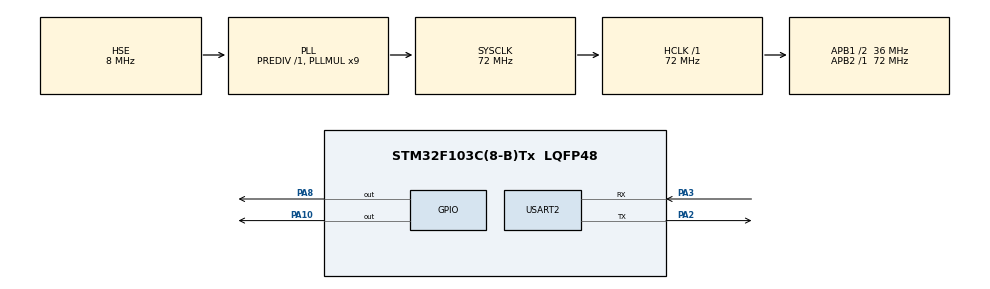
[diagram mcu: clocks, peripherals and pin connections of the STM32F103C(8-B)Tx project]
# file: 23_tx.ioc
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Dma.Request0=USART2_RX
Dma.Request1=USART2_TX
Dma.USART2_RX.0.Direction=DMA_PERIPH_TO_MEMORY
Dma.USART2_RX.0.Instance=DMA1_Channel6
Dma.USART2_RX.0.MemDataAlignment=DMA_MDATAALIGN_BYTE
Dma.USART2_RX.0.MemInc=DMA_MINC_ENABLE
Dma.USART2_RX.0.Mode=DMA_NORMAL
Dma.USART2_RX.0.PeriphDataAlignment=DMA_PDATAALIGN_BYTE
Dma.USART2_RX.0.PeriphInc=DMA_PINC_DISABLE
Dma.USART2_RX.0.Priority=DMA_PRIORITY_LOW
Dma.USART2_TX.1.Direction=DMA_MEMORY_TO_PERIPH
Dma.USART2_TX.1.Instance=DMA1_Channel7
Dma.USART2_TX.1.MemDataAlignment=DMA_MDATAALIGN_BYTE
Dma.USART2_TX.1.MemInc=DMA_MINC_ENABLE
Dma.USART2_TX.1.Mode=DMA_NORMAL
Dma.USART2_TX.1.PeriphDataAlignment=DMA_PDATAALIGN_BYTE
Dma.USART2_TX.1.PeriphInc=DMA_PINC_DISABLE
Dma.USART2_TX.1.Priority=DMA_PRIORITY_LOW
FREERTOS.Tasks01=defaultTask,24,128,StartDefaultTask,Default,NULL,Dynamic,NULL,NULL
Mcu.Family=STM32F1
Mcu.Name=STM32F103C(8-B)Tx
Mcu.Package=LQFP48
NVIC.DMA1_Channel6_IRQn=true\:5\:0\:false\:false\:true\:true\:false\:true\:true
NVIC.DMA1_Channel7_IRQn=true\:5\:0\:false\:false\:true\:true\:false\:true\:true
NVIC.PriorityGroup=NVIC_PRIORITYGROUP_4
NVIC.TIM4_IRQn=true\:15\:0\:false\:false\:true\:false\:false\:true\:true
NVIC.TimeBase=TIM4_IRQn
NVIC.TimeBaseIP=TIM4
NVIC.USART2_IRQn=true\:5\:0\:false\:false\:true\:true\:false\:true\:true
PA10.GPIO_ModeDefaultOutputPP=GPIO_MODE_OUTPUT_PP
PA10.GPIO_PuPd=GPIO_PULLDOWN
PA10.PinState=GPIO_PIN_RESET
PA10.Signal=GPIO_Output
PA13.Mode=Serial_Wire
PA13.Signal=SYS_JTMS-SWDIO
PA14.Mode=Serial_Wire
PA14.Signal=SYS_JTCK-SWCLK
PA2.Mode=Asynchronous
PA2.Signal=USART2_TX
PA3.Mode=Asynchronous
PA3.Signal=USART2_RX
PA8.GPIO_ModeDefaultOutputPP=GPIO_MODE_OUTPUT_PP
PA8.GPIO_PuPd=GPIO_PULLDOWN
PA8.PinState=GPIO_PIN_RESET
PA8.Signal=GPIO_Output
PD0-OSC_IN.Mode=HSE-External-Oscillator
PD0-OSC_IN.Signal=RCC_OSC_IN
PD1-OSC_OUT.Mode=HSE-External-Oscillator
PD1-OSC_OUT.Signal=RCC_OSC_OUT
ProjectManager.HeapSize=0x200
ProjectManager.StackSize=0x400
ProjectManager.TargetToolchain=MDK-ARM V5.32
RCC.AHBFreq_Value=72000000
RCC.APB1CLKDivider=RCC_HCLK_DIV2
RCC.APB1Freq_Value=36000000
RCC.APB1TimFreq_Value=72000000
RCC.APB2Freq_Value=72000000
RCC.APB2TimFreq_Value=72000000
RCC.HCLKFreq_Value=72000000
RCC.PLLMUL=RCC_PLL_MUL9
RCC.PLLSourceVirtual=RCC_PLLSOURCE_HSE
RCC.SYSCLKFreq_VALUE=72000000
RCC.SYSCLKSource=RCC_SYSCLKSOURCE_PLLCLK
RCC.USBFreq_Value=72000000
USART2.VirtualMode=VM_ASYNC
VP_FREERTOS_VS_CMSIS_V2.Mode=CMSIS_V2
VP_SYS_VS_tim4.Mode=TIM4
board=custom

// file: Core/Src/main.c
/* USER CODE BEGIN Header */
/**
  ******************************************************************************
  * @file           : main.c
  * @brief          : Main program body
  ******************************************************************************
  * @attention
  *
  * Copyright (c) 2025 STMicroelectronics.
  * All rights reserved.
  *
  * This software is licensed under terms that can be found in the LICENSE file
  * in the root directory of this software component.
  * If no LICENSE file comes with this software, it is provided AS-IS.
  *
  ******************************************************************************
  */
/* USER CODE END Header */
#include "main.h"
#include "cmsis_os.h"
#include "dma.h"
#include "usart.h"
#include "gpio.h"

void SystemClock_Config(void);
void MX_FREERTOS_Init(void);

int main(void)
{

  /* MCU Configuration--------------------------------------------------------*/

  /* Reset of all peripherals, Initializes the Flash interface and the Systick. */
  HAL_Init();

  /* Configure the system clock */
  SystemClock_Config();

  /* Initialize all configured peripherals */
  MX_GPIO_Init();
  MX_DMA_Init();
  MX_USART2_UART_Init();

  /* Init scheduler */
  osKernelInitialize();  /* Call init function for freertos objects (in cmsis_os2.c) */
  MX_FREERTOS_Init();

  /* Start scheduler */
  osKernelStart();

  /* We should never get here as control is now taken by the scheduler */

  /* Infinite loop */
  while (1)
  {

  }
}

void SystemClock_Config(void)
{
  RCC_OscInitTypeDef RCC_OscInitStruct = {0};
  RCC_ClkInitTypeDef RCC_ClkInitStruct = {0};

  /** Initializes the RCC Oscillators according to the specified parameters
  * in the RCC_OscInitTypeDef structure.
  */
  RCC_OscInitStruct.OscillatorType = RCC_OSCILLATORTYPE_HSE;
  RCC_OscInitStruct.HSEState = RCC_HSE_ON;
  RCC_OscInitStruct.HSEPredivValue = RCC_HSE_PREDIV_DIV1;
  RCC_OscInitStruct.HSIState = RCC_HSI_ON;
  RCC_OscInitStruct.PLL.PLLState = RCC_PLL_ON;
  RCC_OscInitStruct.PLL.PLLSource = RCC_PLLSOURCE_HSE;
  RCC_OscInitStruct.PLL.PLLMUL = RCC_PLL_MUL9;
  if (HAL_RCC_OscConfig(&RCC_OscInitStruct) != HAL_OK)
  {
    Error_Handler();
  }

  /** Initializes the CPU, AHB and APB buses clocks
  */
  RCC_ClkInitStruct.ClockType = RCC_CLOCKTYPE_HCLK|RCC_CLOCKTYPE_SYSCLK
                              |RCC_CLOCKTYPE_PCLK1|RCC_CLOCKTYPE_PCLK2;
  RCC_ClkInitStruct.SYSCLKSource = RCC_SYSCLKSOURCE_PLLCLK;
  RCC_ClkInitStruct.AHBCLKDivider = RCC_SYSCLK_DIV1;
  RCC_ClkInitStruct.APB1CLKDivider = RCC_HCLK_DIV2;
  RCC_ClkInitStruct.APB2CLKDivider = RCC_HCLK_DIV1;

  if (HAL_RCC_ClockConfig(&RCC_ClkInitStruct, FLASH_LATENCY_2) != HAL_OK)
  {
    Error_Handler();
  }
}

void HAL_TIM_PeriodElapsedCallback(TIM_HandleTypeDef *htim)
{
  if (htim->Instance == TIM4)
  {
    HAL_IncTick();
  }
}

void Error_Handler(void)
{
  __disable_irq();
  while (1)
  {
  }
}

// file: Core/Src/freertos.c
/* USER CODE BEGIN Header */
/**
  ******************************************************************************
  * File Name          : freertos.c
  * Description        : Code for freertos applications
  ******************************************************************************
  * @attention
  *
  * Copyright (c) 2025 STMicroelectronics.
  * All rights reserved.
  *
  * This software is licensed under terms that can be found in the LICENSE file
  * in the root directory of this software component.
  * If no LICENSE file comes with this software, it is provided AS-IS.
  *
  ******************************************************************************
  */
/* USER CODE END Header */

#include "FreeRTOS.h"
#include "task.h"
#include "main.h"
#include "cmsis_os.h"

/* USER CODE BEGIN Includes */
#include "usart.h"
#include <string.h>
/* USER CODE END Includes */

/* USER CODE BEGIN PTD */
typedef enum{
	NONE,
	ALLON,
	REDON,
	GREENON,
	ALLOFF,
}LEDState;
/* USER CODE END PTD */

/* USER CODE BEGIN Variables */
LEDState ledstate = NONE;
int dmaTxState = 1;
int dmaRxState = 1;
	uint8_t rx_buf[4];
/* USER CODE END Variables */
/* Definitions for defaultTask */
osThreadId_t defaultTaskHandle;
const osThreadAttr_t defaultTask_attributes = {
  .name = "defaultTask",
  .stack_size = 128 * 4,
  .priority = (osPriority_t) osPriorityNormal,
};

/* USER CODE BEGIN FunctionPrototypes */
void RxTask(void *parames);
void TxTask(void *parames);
/* USER CODE END FunctionPrototypes */

void StartDefaultTask(void *argument);

void MX_FREERTOS_Init(void); /* (MISRA C 2004 rule 8.1) */

void MX_FREERTOS_Init(void) {

  /* Create the thread(s) */
  /* creation of defaultTask */
  defaultTaskHandle = osThreadNew(StartDefaultTask, NULL, &defaultTask_attributes);

  /* USER CODE BEGIN RTOS_THREADS */
  /* add threads, ... */
	xTaskCreate(RxTask,"RxTask",128,NULL,osPriorityNormal,NULL);
	xTaskCreate(TxTask,"TxTask",128,NULL,osPriorityNormal,NULL);
	HAL_UART_Receive_DMA(&huart2,rx_buf,sizeof(rx_buf));
  /* USER CODE END RTOS_THREADS */

}

void StartDefaultTask(void *argument)
{
  for(;;)
  {
    osDelay(1);
  }
}

/* USER CODE BEGIN Application */
void RxTask(void *parames){
	for(;;){
		taskENTER_CRITICAL();
		if(dmaRxState == 1){
			dmaRxState = 0;
			taskEXIT_CRITICAL();
			HAL_UART_Receive_DMA(&huart2,rx_buf,sizeof(rx_buf));
		}else{
			taskEXIT_CRITICAL();
			vTaskDelay(10);
			continue;
		}
		if(rx_buf[1] == 0x01){
			taskENTER_CRITICAL();
			if(HAL_GPIO_ReadPin(GPIOA,GPIO_PIN_8) == GPIO_PIN_SET && HAL_GPIO_ReadPin(GPIOA,GPIO_PIN_10) == GPIO_PIN_SET) ledstate = ALLON;
			else if(HAL_GPIO_ReadPin(GPIOA,GPIO_PIN_8) == GPIO_PIN_SET && HAL_GPIO_ReadPin(GPIOA,GPIO_PIN_10) == GPIO_PIN_RESET) ledstate = GREENON;
			else if(HAL_GPIO_ReadPin(GPIOA,GPIO_PIN_8) == GPIO_PIN_RESET && HAL_GPIO_ReadPin(GPIOA,GPIO_PIN_10) == GPIO_PIN_SET) ledstate = REDON;
			else if(HAL_GPIO_ReadPin(GPIOA,GPIO_PIN_8) == GPIO_PIN_RESET && HAL_GPIO_ReadPin(GPIOA,GPIO_PIN_10) == GPIO_PIN_RESET) ledstate = ALLOFF;
			taskEXIT_CRITICAL();
		}else if(rx_buf[1] == 0x02){
			taskENTER_CRITICAL();
			if(rx_buf[2] == 0x01) ledstate = REDON;
			else if(rx_buf[2] == 0x02) ledstate = GREENON;
			else if(rx_buf[2] == 0x03) ledstate = ALLON;
			else if(rx_buf[2] == 0x04) ledstate = ALLOFF;
			taskEXIT_CRITICAL();
		}
		vTaskDelay(50);
	}
}
void TxTask(void *parames){
	LEDState tempstate = NONE;
	char tx_buf[9]="NONE\n";
	for(;;){
		taskENTER_CRITICAL();
		tempstate = ledstate;
		taskEXIT_CRITICAL();
		switch(tempstate){
			case ALLON:
				if(HAL_GPIO_ReadPin(GPIOA,GPIO_PIN_8) == GPIO_PIN_RESET) HAL_GPIO_WritePin(GPIOA,GPIO_PIN_8,GPIO_PIN_SET);
				if(HAL_GPIO_ReadPin(GPIOA,GPIO_PIN_10) == GPIO_PIN_RESET) HAL_GPIO_WritePin(GPIOA,GPIO_PIN_10,GPIO_PIN_SET);
				snprintf(tx_buf,sizeof(tx_buf),"ALLON\n");
				break;
			case GREENON:
				if(HAL_GPIO_ReadPin(GPIOA,GPIO_PIN_8) == GPIO_PIN_RESET) HAL_GPIO_WritePin(GPIOA,GPIO_PIN_8,GPIO_PIN_SET);
				if(HAL_GPIO_ReadPin(GPIOA,GPIO_PIN_10) == GPIO_PIN_SET) HAL_GPIO_WritePin(GPIOA,GPIO_PIN_10,GPIO_PIN_RESET);
				snprintf(tx_buf,sizeof(tx_buf),"GREENON\n");
				break;
			case REDON:
				if(HAL_GPIO_ReadPin(GPIOA,GPIO_PIN_8) == GPIO_PIN_SET) HAL_GPIO_WritePin(GPIOA,GPIO_PIN_8,GPIO_PIN_RESET);
				if(HAL_GPIO_ReadPin(GPIOA,GPIO_PIN_10) == GPIO_PIN_RESET) HAL_GPIO_WritePin(GPIOA,GPIO_PIN_10,GPIO_PIN_SET);
				snprintf(tx_buf,sizeof(tx_buf),"REDON\n");
				break;
			case ALLOFF:
				if(HAL_GPIO_ReadPin(GPIOA,GPIO_PIN_8) == GPIO_PIN_SET) HAL_GPIO_WritePin(GPIOA,GPIO_PIN_8,GPIO_PIN_RESET);
				if(HAL_GPIO_ReadPin(GPIOA,GPIO_PIN_10) == GPIO_PIN_SET) HAL_GPIO_WritePin(GPIOA,GPIO_PIN_10,GPIO_PIN_RESET);
				snprintf(tx_buf,sizeof(tx_buf),"ALLOFF\n");
				break;
			case NONE:
				break;
		}
		taskENTER_CRITICAL();
		if(dmaTxState == 0){
			taskEXIT_CRITICAL();
			vTaskDelay(50);
		}
		else{
			dmaTxState = 0;
			taskEXIT_CRITICAL();
			HAL_UART_Transmit_DMA(&huart2,(uint8_t *)tx_buf,strlen(tx_buf));
		}
		vTaskDelay(1000);
	}
}
void HAL_UART_TxCpltCallback(UART_HandleTypeDef *huart){
	if(huart == &huart2) dmaTxState = 1;
}
void HAL_UART_RxCpltCallback(UART_HandleTypeDef *huart){
	if(huart == &huart2) dmaRxState = 1;
}
/* USER CODE END Application */
